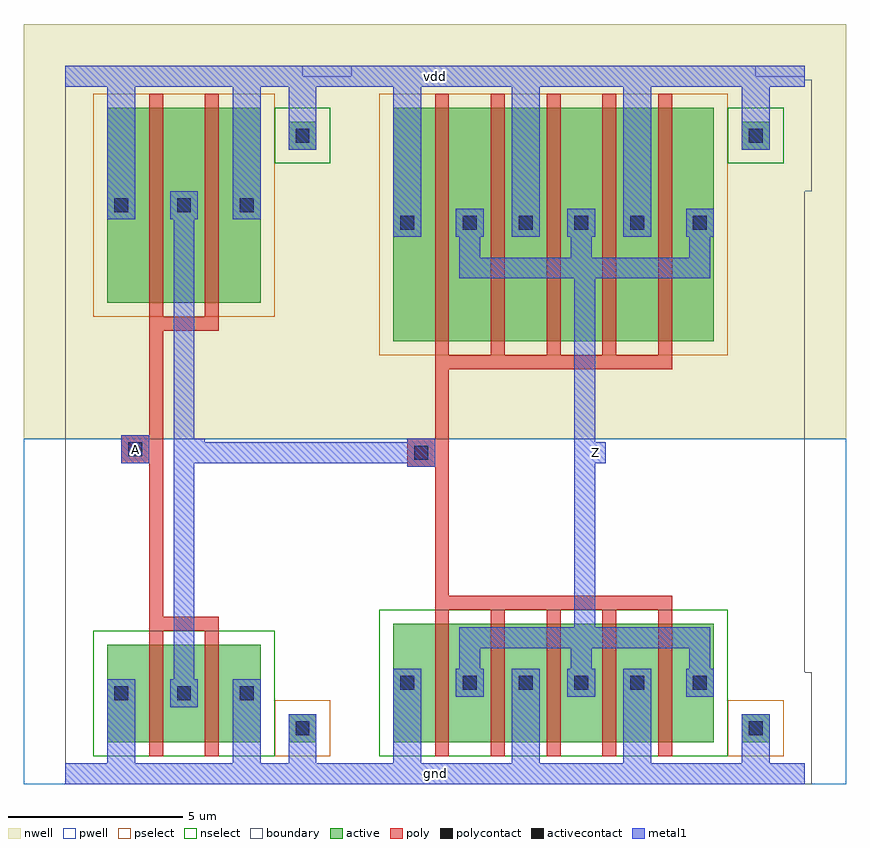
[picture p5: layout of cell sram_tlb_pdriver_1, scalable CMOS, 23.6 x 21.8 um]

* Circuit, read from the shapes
.subckt sram_tlb_pdriver_1 A Z gnd vdd
M1 sram_tlb_pinv_13_1/A A gnd gnd nfet w=2.8u l=0.4u m=2
M2 Z sram_tlb_pinv_13_1/A gnd gnd nfet w=3.4u l=0.4u m=5
M3 sram_tlb_pinv_13_1/A A vdd vdd pfet w=5.6u l=0.4u m=2
M4 Z sram_tlb_pinv_13_1/A vdd vdd pfet w=6.7u l=0.4u m=5
.ends

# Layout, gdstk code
import gdstk
lib = gdstk.Library(unit=1e-6, precision=1e-09)
def R(c, l, rs):  # rectangles x0, y0, x1, y1
    for r in rs: c.add(gdstk.rectangle(r[:2], r[2:], *l))
def A(c, l, x, y, w, h, nx, ny, dx, dy):  # array of equal rectangles
    R(c, l, [(x+i*dx, y+j*dy, x+i*dx+w, y+j*dy+h) for i in range(nx) for j in range(ny)])
pwell = (41, 0)
nwell = (42, 0)
active = (43, 0)
pselect = (44, 0)
nselect = (45, 0)
poly = (46, 0)
polycontact = (47, 0)
activecontact = (48, 0)
metal1 = (49, 0)
boundary = (63, 0)

sram_tlb_contact_11 = lib.new_cell('sram_tlb_contact_11')
R(sram_tlb_contact_11, nwell, [(-1.2,-1.2,2,2)])
R(sram_tlb_contact_11, active, [(0,0,0.8,0.8)])
R(sram_tlb_contact_11, pselect, [(-0.4,-0.4,1.2,1.2)])
R(sram_tlb_contact_11, activecontact, [(0.2,0.2,0.6,0.6)])
R(sram_tlb_contact_11, metal1, [(0,0,0.8,0.8)])
R(sram_tlb_contact_11, boundary, [(-1.2,-1.2,2,2)])

sram_tlb_pmos_m2_w5_600_ = lib.new_cell('sram_tlb_pmos_m2_w5_600_sm1_dm1_da_p')
R(sram_tlb_pmos_m2_w5_600_, nwell, [(-1.2,-1.2,5.6,6.8)])
R(sram_tlb_pmos_m2_w5_600_, active, [(0,0,4.4,5.6)])
R(sram_tlb_pmos_m2_w5_600_, pselect, [(-0.4,-0.4,4.8,6)])
R(sram_tlb_pmos_m2_w5_600_, poly, [(1.2,-0.8,3.2,-0.4), (1.2,-0.4,1.6,6), (2.8,-0.4,3.2,6)])
A(sram_tlb_pmos_m2_w5_600_, metal1, 0, 2.4, 0.8, 0.8, 3, 1, 1.8, 0)
R(sram_tlb_pmos_m2_w5_600_, boundary, [(-1.2,-1.2,5.6,6.8)])
sram_tlb_pmos_m2_w5_600_.add(gdstk.Reference(sram_tlb_contact_11, (0,2.4)))
sram_tlb_pmos_m2_w5_600_.add(gdstk.Reference(sram_tlb_contact_11, (1.8,2.4)))
sram_tlb_pmos_m2_w5_600_.add(gdstk.Reference(sram_tlb_contact_11, (3.6,2.4)))
sram_tlb_pmos_m2_w5_600_.add(gdstk.Label('G', (2.2,-0.6), layer=46, texttype=0))
sram_tlb_pmos_m2_w5_600_.add(gdstk.Label('S', (0.4,2.8), layer=49, texttype=0))
sram_tlb_pmos_m2_w5_600_.add(gdstk.Label('S', (4,2.8), layer=49, texttype=0))
sram_tlb_pmos_m2_w5_600_.add(gdstk.Label('D', (2.2,2.8), layer=49, texttype=0))

sram_tlb_contact_10 = lib.new_cell('sram_tlb_contact_10')
R(sram_tlb_contact_10, pwell, [(-1.2,-1.2,2,2)])
R(sram_tlb_contact_10, active, [(0,0,0.8,0.8)])
R(sram_tlb_contact_10, nselect, [(-0.4,-0.4,1.2,1.2)])
R(sram_tlb_contact_10, activecontact, [(0.2,0.2,0.6,0.6)])
R(sram_tlb_contact_10, metal1, [(0,0,0.8,0.8)])
R(sram_tlb_contact_10, boundary, [(-1.2,-1.2,2,2)])

sram_tlb_nmos_m2_w2_800_ = lib.new_cell('sram_tlb_nmos_m2_w2_800_sm1_dm1_da_p')
R(sram_tlb_nmos_m2_w2_800_, pwell, [(-1.2,-1.2,5.6,4)])
R(sram_tlb_nmos_m2_w2_800_, active, [(0,0,4.4,2.8)])
R(sram_tlb_nmos_m2_w2_800_, nselect, [(-0.4,-0.4,4.8,3.2)])
R(sram_tlb_nmos_m2_w2_800_, poly, [(1.2,-0.4,1.6,3.2), (2.8,-0.4,3.2,3.2), (1.2,3.2,3.2,3.6)])
A(sram_tlb_nmos_m2_w2_800_, metal1, 0, 1, 0.8, 0.8, 3, 1, 1.8, 0)
R(sram_tlb_nmos_m2_w2_800_, boundary, [(-1.2,-1.2,5.6,4)])
sram_tlb_nmos_m2_w2_800_.add(gdstk.Reference(sram_tlb_contact_10, (0,1)))
sram_tlb_nmos_m2_w2_800_.add(gdstk.Reference(sram_tlb_contact_10, (1.8,1)))
sram_tlb_nmos_m2_w2_800_.add(gdstk.Reference(sram_tlb_contact_10, (3.6,1)))
sram_tlb_nmos_m2_w2_800_.add(gdstk.Label('G', (2.2,3.4), layer=46, texttype=0))
sram_tlb_nmos_m2_w2_800_.add(gdstk.Label('S', (4,1.4), layer=49, texttype=0))
sram_tlb_nmos_m2_w2_800_.add(gdstk.Label('S', (0.4,1.4), layer=49, texttype=0))
sram_tlb_nmos_m2_w2_800_.add(gdstk.Label('D', (2.2,1.4), layer=49, texttype=0))

sram_tlb_contact_12 = lib.new_cell('sram_tlb_contact_12')
R(sram_tlb_contact_12, nwell, [(-1.2,-1.2,2,2)])
R(sram_tlb_contact_12, active, [(0,0,0.8,0.8)])
R(sram_tlb_contact_12, nselect, [(-0.4,-0.4,1.2,1.2)])
R(sram_tlb_contact_12, activecontact, [(0.2,0.2,0.6,0.6)])
R(sram_tlb_contact_12, metal1, [(0,0,0.8,0.8)])
R(sram_tlb_contact_12, boundary, [(-1.2,-1.2,2,2)])

sram_tlb_contact_13 = lib.new_cell('sram_tlb_contact_13')
R(sram_tlb_contact_13, pwell, [(-1.2,-1.2,2,2)])
R(sram_tlb_contact_13, active, [(0,0,0.8,0.8)])
R(sram_tlb_contact_13, pselect, [(-0.4,-0.4,1.2,1.2)])
R(sram_tlb_contact_13, activecontact, [(0.2,0.2,0.6,0.6)])
R(sram_tlb_contact_13, metal1, [(0,0,0.8,0.8)])
R(sram_tlb_contact_13, boundary, [(-1.2,-1.2,2,2)])

sram_tlb_contact_14 = lib.new_cell('sram_tlb_contact_14')
R(sram_tlb_contact_14, poly, [(0,0,0.8,0.8)])
R(sram_tlb_contact_14, polycontact, [(0.2,0.2,0.6,0.6)])
R(sram_tlb_contact_14, metal1, [(0,0,0.8,0.8)])
R(sram_tlb_contact_14, boundary, [(0,0,0.8,0.8)])

sram_tlb_pinv_12 = lib.new_cell('sram_tlb_pinv_12')
R(sram_tlb_pinv_12, pwell, [(-1.2,-0.3,9.4,9.6)])
R(sram_tlb_pinv_12, nwell, [(-1.2,9.6,9.4,21.5)])
R(sram_tlb_pinv_12, poly, [(2.4,4.5,2.8,12.7), (2,8.9,2.4,9.7)])
R(sram_tlb_pinv_12, metal1, [(0,-0.3,8.2,0.3), (1.2,-0.3,2,1.9), (4.8,-0.3,5.6,1.9), (6.4,0,7.2,1.3), (3.1,1.9,3.7,16.7), (1.6,8.9,2.4,9.7), (3.4,9,4,9.6), (1.2,15.9,2,20.3), (4.8,15.9,5.6,20.3), (6.4,18.3,7.2,20), (0,19.7,8.2,20.3)])
R(sram_tlb_pinv_12, boundary, [(0,0,8.2,20), (0,0,8.2,20)])
sram_tlb_pinv_12.add(gdstk.Reference(sram_tlb_pmos_m2_w5_600_, (1.2,13.5)))
sram_tlb_pinv_12.add(gdstk.Reference(sram_tlb_nmos_m2_w2_800_, (1.2,0.9)))
sram_tlb_pinv_12.add(gdstk.Reference(sram_tlb_contact_12, (6.4,17.9)))
sram_tlb_pinv_12.add(gdstk.Reference(sram_tlb_contact_13, (6.4,0.9)))
sram_tlb_pinv_12.add(gdstk.Reference(sram_tlb_contact_14, (1.6,8.9)))
sram_tlb_pinv_12.add(gdstk.Label('A', (2,9.3), layer=49, texttype=0))
sram_tlb_pinv_12.add(gdstk.Label('Z', (3.7,9.3), layer=49, texttype=0))
sram_tlb_pinv_12.add(gdstk.Label('gnd', (4.1,0), layer=49, texttype=0))
sram_tlb_pinv_12.add(gdstk.Label('vdd', (4.1,20), layer=49, texttype=0))

sram_tlb_pmos_m5_w6_700_ = lib.new_cell('sram_tlb_pmos_m5_w6_700_sm1_dm1_da_p')
R(sram_tlb_pmos_m5_w6_700_, nwell, [(-1.2,-1.2,10.4,7.9)])
R(sram_tlb_pmos_m5_w6_700_, active, [(0,0,9.2,6.7)])
R(sram_tlb_pmos_m5_w6_700_, pselect, [(-0.4,-0.4,9.6,7.1)])
A(sram_tlb_pmos_m5_w6_700_, poly, 1.2, -0.4, 0.4, 7.5, 5, 1, 1.6, 0)
R(sram_tlb_pmos_m5_w6_700_, poly, [(1.2,-0.8,8,-0.4)])
R(sram_tlb_pmos_m5_w6_700_, metal1, [(1.9,1.8,9.1,2.4), (1.9,2,2.5,3.4), (5.1,2,5.7,3.4), (8.5,2,9.1,3.4), (0,3,0.8,3.8), (3.4,3,4.2,3.8), (6.6,3,7.4,3.8)])
R(sram_tlb_pmos_m5_w6_700_, boundary, [(-1.2,-1.2,10.4,7.9)])
sram_tlb_pmos_m5_w6_700_.add(gdstk.Reference(sram_tlb_contact_11, (0,3)))
sram_tlb_pmos_m5_w6_700_.add(gdstk.Reference(sram_tlb_contact_11, (1.8,3)))
sram_tlb_pmos_m5_w6_700_.add(gdstk.Reference(sram_tlb_contact_11, (3.4,3)))
sram_tlb_pmos_m5_w6_700_.add(gdstk.Reference(sram_tlb_contact_11, (5,3)))
sram_tlb_pmos_m5_w6_700_.add(gdstk.Reference(sram_tlb_contact_11, (6.6,3)))
sram_tlb_pmos_m5_w6_700_.add(gdstk.Reference(sram_tlb_contact_11, (8.4,3)))
sram_tlb_pmos_m5_w6_700_.add(gdstk.Label('G', (4.6,-0.6), layer=46, texttype=0))
sram_tlb_pmos_m5_w6_700_.add(gdstk.Label('S', (3.8,3.4), layer=49, texttype=0))
sram_tlb_pmos_m5_w6_700_.add(gdstk.Label('S', (7,3.4), layer=49, texttype=0))
sram_tlb_pmos_m5_w6_700_.add(gdstk.Label('S', (0.4,3.4), layer=49, texttype=0))
sram_tlb_pmos_m5_w6_700_.add(gdstk.Label('D', (5.5,2.1), layer=49, texttype=0))

sram_tlb_nmos_m5_w3_400_ = lib.new_cell('sram_tlb_nmos_m5_w3_400_sm1_dm1_da_p')
R(sram_tlb_nmos_m5_w3_400_, pwell, [(-1.2,-1.2,10.4,4.6)])
R(sram_tlb_nmos_m5_w3_400_, active, [(0,0,9.2,3.4)])
R(sram_tlb_nmos_m5_w3_400_, nselect, [(-0.4,-0.4,9.6,3.8)])
A(sram_tlb_nmos_m5_w3_400_, poly, 1.2, -0.4, 0.4, 4.2, 5, 1, 1.6, 0)
R(sram_tlb_nmos_m5_w3_400_, poly, [(1.2,3.8,8,4.2)])
R(sram_tlb_nmos_m5_w3_400_, metal1, [(0,1.3,0.8,2.1), (3.4,1.3,4.2,2.1), (6.6,1.3,7.4,2.1), (1.9,1.7,2.5,3), (5.1,1.7,5.7,3), (8.5,1.7,9.1,3), (1.9,2.7,9.1,3.3)])
R(sram_tlb_nmos_m5_w3_400_, boundary, [(-1.2,-1.2,10.4,4.6)])
sram_tlb_nmos_m5_w3_400_.add(gdstk.Reference(sram_tlb_contact_10, (0,1.3)))
sram_tlb_nmos_m5_w3_400_.add(gdstk.Reference(sram_tlb_contact_10, (1.8,1.3)))
sram_tlb_nmos_m5_w3_400_.add(gdstk.Reference(sram_tlb_contact_10, (3.4,1.3)))
sram_tlb_nmos_m5_w3_400_.add(gdstk.Reference(sram_tlb_contact_10, (5,1.3)))
sram_tlb_nmos_m5_w3_400_.add(gdstk.Reference(sram_tlb_contact_10, (6.6,1.3)))
sram_tlb_nmos_m5_w3_400_.add(gdstk.Reference(sram_tlb_contact_10, (8.4,1.3)))
sram_tlb_nmos_m5_w3_400_.add(gdstk.Label('G', (4.6,4), layer=46, texttype=0))
sram_tlb_nmos_m5_w3_400_.add(gdstk.Label('S', (3.8,1.7), layer=49, texttype=0))
sram_tlb_nmos_m5_w3_400_.add(gdstk.Label('S', (0.4,1.7), layer=49, texttype=0))
sram_tlb_nmos_m5_w3_400_.add(gdstk.Label('S', (7,1.7), layer=49, texttype=0))
sram_tlb_nmos_m5_w3_400_.add(gdstk.Label('D', (5.5,3), layer=49, texttype=0))

sram_tlb_pinv_13 = lib.new_cell('sram_tlb_pinv_13')
R(sram_tlb_pinv_13, pwell, [(-1.2,-0.3,14.2,9.6)])
R(sram_tlb_pinv_13, nwell, [(-1.2,9.6,14.2,21.5)])
R(sram_tlb_pinv_13, poly, [(2.4,5.1,2.8,11.6), (2,8.8,2.4,9.6)])
R(sram_tlb_pinv_13, metal1, [(0,-0.3,13,0.3), (1.2,-0.3,2,2.2), (4.6,-0.3,5.4,2.2), (7.8,-0.3,8.6,2.2), (11.2,0,12,1.3), (6.4,3.6,7,14.8), (1.6,8.8,2.4,9.6), (6.7,8.9,7.3,9.5), (1.2,15.4,2,20.3), (4.6,15.4,5.4,20.3), (7.8,15.4,8.6,20.3), (11.2,18.3,12,20), (0,19.7,13,20.3)])
R(sram_tlb_pinv_13, boundary, [(0,0,13,20), (0,0,13,20)])
sram_tlb_pinv_13.add(gdstk.Reference(sram_tlb_pmos_m5_w6_700_, (1.2,12.4)))
sram_tlb_pinv_13.add(gdstk.Reference(sram_tlb_nmos_m5_w3_400_, (1.2,0.9)))
sram_tlb_pinv_13.add(gdstk.Reference(sram_tlb_contact_12, (11.2,17.9)))
sram_tlb_pinv_13.add(gdstk.Reference(sram_tlb_contact_13, (11.2,0.9)))
sram_tlb_pinv_13.add(gdstk.Reference(sram_tlb_contact_14, (1.6,8.8)))
sram_tlb_pinv_13.add(gdstk.Label('A', (2,9.2), layer=49, texttype=0))
sram_tlb_pinv_13.add(gdstk.Label('Z', (7,9.2), layer=49, texttype=0))
sram_tlb_pinv_13.add(gdstk.Label('gnd', (6.5,0), layer=49, texttype=0))
sram_tlb_pinv_13.add(gdstk.Label('vdd', (6.5,20), layer=49, texttype=0))

sram_tlb_pdriver_1 = lib.new_cell('sram_tlb_pdriver_1')
R(sram_tlb_pdriver_1, pwell, [(-1.2,-0.3,22.4,9.6)])
R(sram_tlb_pdriver_1, nwell, [(-1.2,9.6,22.4,21.5)])
R(sram_tlb_pdriver_1, metal1, [(0,-0.3,21.2,0.3), (1.6,8.9,2.4,9.7), (3.4,8.9,4,9.5), (3.7,8.9,10.2,9.5), (14.9,8.9,15.5,9.5), (3.4,9.2,4,9.3), (0,19.7,21.2,20.3)])
R(sram_tlb_pdriver_1, boundary, [(0,0,21.2,20), (0,0,21.2,20)])
sram_tlb_pdriver_1.add(gdstk.Reference(sram_tlb_pinv_12, (0,0)))
sram_tlb_pdriver_1.add(gdstk.Reference(sram_tlb_pinv_13, (8.2,0)))
sram_tlb_pdriver_1.add(gdstk.Label('Z', (15.2,9.2), layer=49, texttype=0))
sram_tlb_pdriver_1.add(gdstk.Label('A', (2,9.3), layer=49, texttype=0))
sram_tlb_pdriver_1.add(gdstk.Label('gnd', (10.6,0), layer=49, texttype=0))
sram_tlb_pdriver_1.add(gdstk.Label('vdd', (10.6,20), layer=49, texttype=0))

lib.write_gds('sram_tlb_pdriver_1.gds')
